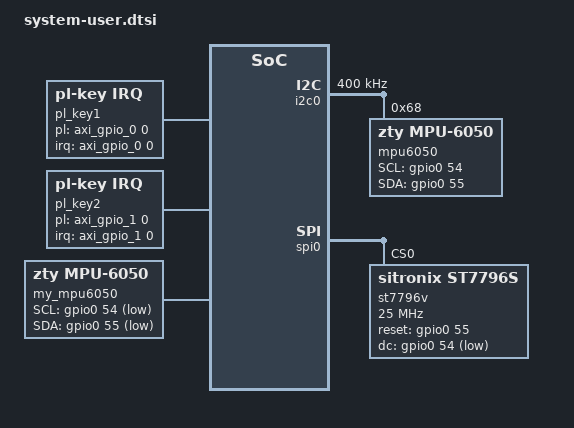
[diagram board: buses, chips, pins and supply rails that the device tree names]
#define GPIO_ACTIVE_HIGH 0
#define GPIO_ACTIVE_LOW 1

/include/ "system-conf.dtsi"
#include <dt-bindings/gpio/gpio.h>
#include <dt-bindings/interrupt-controller/irq.h>

/ {
    pl_key1{
        compatible = "pl-key,irq";
        status = "okay";
        pl-gpio = <&axi_gpio_0 0 GPIO_ACTIVE_HIGH>;
        interrupt-parent=<&axi_gpio_0>;
        interrupts=<0 IRQ_TYPE_EDGE_BOTH>;
    };

    pl_key2{
        compatible = "pl-key,irq";
        status = "okay";
        pl-gpio = <&axi_gpio_1 0 GPIO_ACTIVE_HIGH>;
        interrupt-parent=<&axi_gpio_1>;
        interrupts=<0 IRQ_TYPE_EDGE_BOTH>;
    };

    my_mpu6050 {
	compatible = "zty,mpu-6050";
	gpio-SCL = <&gpio0 54 GPIO_ACTIVE_LOW>; 
	gpio-SDA = <&gpio0 55 GPIO_ACTIVE_LOW>;
    };

};

&i2c0 {
    clock-frequency = <400000>;
    
    mpu6050@69 {
        compatible = "zty,mpu-6050";
        gpio-SCL = <&gpio0 54 GPIO_ACTIVE_HIGH>; 
        gpio-SDA = <&gpio0 55 GPIO_ACTIVE_HIGH>;
        reg = <0x68>;
    };

};



&spi0 {
    st7796v@0 {
        status = "okay";
        compatible = "sitronix,st7796s";
       	reg = <0>;
       	spi-max-frequency =<25000000>;        //EMIO SPI时钟最大25MHz
        reset-gpios=<&gpio0 55 GPIO_ACTIVE_HIGH>;   //EMIO 55
       	dc-gpios  =<&gpio0 54 GPIO_ACTIVE_LOW>;   //EMIO 54
    };
};
